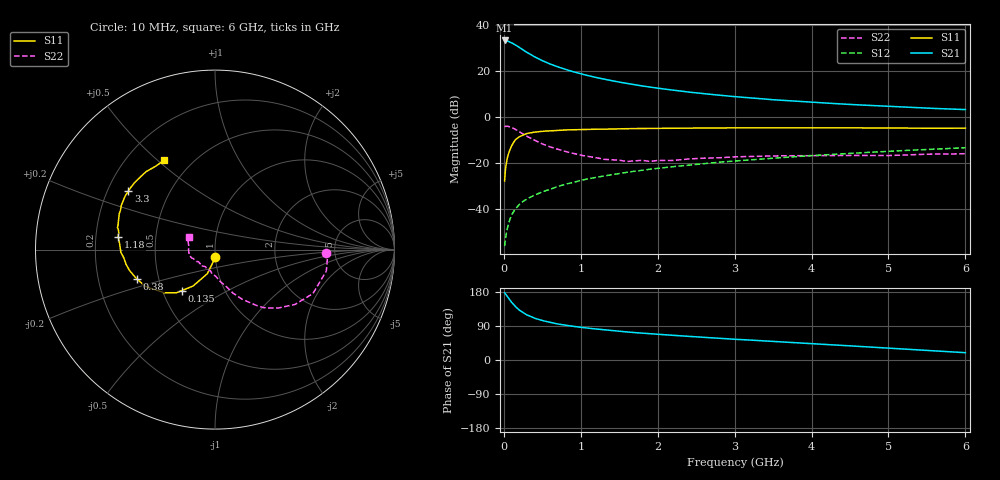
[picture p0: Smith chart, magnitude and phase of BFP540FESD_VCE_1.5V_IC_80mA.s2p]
! Infineon Technologies  Discrete & RF Semiconductors
! BFP540FESD
! VCE =  1.5 V,  IC =  80 mA
! Common Emitter S-Parameters:  Nov 2015
# GHz  S  MA  R  50
!  f  S11  S21  S12  S22
! GHz  MAG  ANG  MAG  ANG  MAG  ANG  MAG  ANG
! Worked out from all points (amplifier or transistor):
!   210 points, 10 MHz to 6 GHz, reference 50 ohm
!   highest |S21| = 33.1 dB at 10 MHz (marker M1)
!   |S21| within 3 dB of that: start of sweep to 200.2 MHz
!   unconditionally stable (mu >= 1): start of sweep to 103.5 MHz; 503.6 MHz to end of sweep
!   at 185 MHz: K = 0.87, MSG = 34.5 dB, |S12| = -38.5 dB
!   at 1.52 GHz: K = 1.17, MAG = 17.1 dB, |S12| = -24.4 dB
!   at 6 GHz: K = 1.27, MAG = 5.1 dB, |S12| = -13.3 dB
!   S11 on the Smith chart (normalised r, x): 10 MHz: 0.99, -0.08; 135 MHz: 0.63, -0.31; 380 MHz: 0.38, -0.16; 1.18 GHz: 0.30, +0.06; 3.3 GHz: 0.29, +0.28; 6 GHz: 0.35, +0.52
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0.01  0.0415 -92.5  45.29 177.6  0.0016 112.8  0.6161 -1.6
0.02  0.0701 -98.8  44.09 175.0  0.0022 98.5  0.6291 -1.9
0.05  0.1406 -107.6  43.95 166.3  0.0042 79.7  0.6316 -10.9
0.1  0.2362 -121.0  40.58 152.4  0.0075 78.3  0.5982 -24.2
0.135  0.2953 -129.1  37.56 144.7  0.0094 73.9  0.556 -31.1
0.15  0.322 -131.7  36.49 141.1  0.0102 72.5  0.5406 -34.4
0.2  0.3718 -139.7  32.08 131.8  0.0127 71.7  0.4796 -42.7
0.24  0.3992 -145.7  28.95 126.3  0.0145 70.2  0.4382 -48.0
0.3  0.4399 -152.3  25 118.8  0.0168 69.0  0.3825 -53.9
0.38  0.4634 -159.2  20.98 112.2  0.0196 66.8  0.3269 -59.7
0.5  0.4914 -166.6  16.57 103.9  0.024 68.0  0.2615 -67.6
0.6  0.5027 -170.8  14.02 99.2  0.0272 69.0  0.2256 -71.6
0.8  0.5247 -178.3  10.7 91.8  0.035 68.8  0.1788 -81.0
1.02  0.5337 176.0  8.429 85.8  0.0432 68.4  0.1469 -89.4
1.18  0.5435 172.6  7.274 82.2  0.0487 67.7  0.1337 -97.5
1.5  0.5571 167.3  5.676 75.9  0.0597 66.6  0.1162 -113.8
2.02  0.5699 159.1  4.154 67.5  0.0778 63.4  0.1145 -137.8
3.1  0.5826 148.0  2.677 53.7  0.1146 56.7  0.1385 -161.2
3.3  0.5826 146.1  2.517 51.4  0.1212 55.2  0.1413 -163.6
4.1  0.5821 139.8  2.04 41.9  0.1491 49.9  0.1466 -174.6
5.1  0.5773 130.4  1.671 30.0  0.1843 41.3  0.1481 170.9
6  0.5724 119.7  1.446 19.3  0.216 33.2  0.1604 154.6
